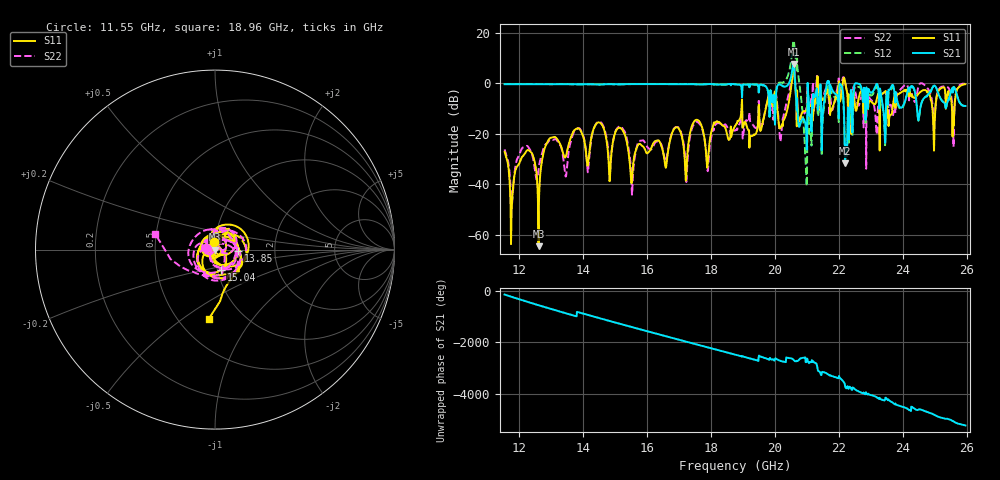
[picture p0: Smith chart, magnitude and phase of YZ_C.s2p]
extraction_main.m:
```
## This code calculates extracted reflection and transmission coefficients 
## of unknown device connected to 2 known or unknown devices. One need to 
## measure the following networks: X+Y, X+Z, Y+Z, assuming X is DUT, Y and Z
## are other devicesused for service purposes only. Both transmission and 
## reflection coefficients should be measured. Originally, this code was created
## for calculation of calibration coefficients of the coaxial waveguide adapters 
## using 2 other compatible adapters. 
## --------------
## Created by Alex Savochkin on 20th of April, 2021
## Lab 113, Department 11, Research dept. 1, VNIIFTRI

clear all; clc; c = 299792458; % скорость света в вакууме, м/с

## Enter correct filename of each S2P-files.
## Here assumed that X - DUT we need to calibrate, Y and Z - auxiliary DUTs

unknownDeviceFilename = 'XY_A.s2p'; 
knownDeviceFilename_1 = 'XZ_B.s2p'; 
knownDeviceFilename_2 = 'YZ_C.s2p';

[F_u S11_u S21_u S12_u S22_u] = VreadS2P(unknownDeviceFilename);
[F_1 S11_1 S21_1 S12_1 S22_1] = VreadS2P(knownDeviceFilename_1);
[F_2 S11_2 S21_2 S12_2 S22_2] = VreadS2P(knownDeviceFilename_2);

unitMatrix = [1 1 0; 1 0 1; 0 1 1];
minusUnitMatrix = [1 1 0; 1 0 1; 0 1 1];

measurementsMatrixS21 = [S21_u'; S21_1'; S21_2'];
measurementsMatrixS12 = [S12_u'; S12_1'; S12_2'];

measurementsMatrixS21db = [10*log10(abs(S21_u))'; 10*log10(abs(S21_1))'; 10*log10(abs(S21_2))'];
measurementsMatrixS12db = [10*log10(abs(S12_u))'; 10*log10(abs(S12_1))'; 10*log10(abs(S12_2))'];

measurementsMatrixS11 = [(S11_u)'; (S11_1)'; (S11_2)'];
measurementsMatrixS22 = [(S22_u)'; (S22_1)'; (S22_2)'];

S21_partial = unitMatrix^(-1) * measurementsMatrixS21;
S12_partial = unitMatrix^(-1) * measurementsMatrixS12;

S21_partialdb = unitMatrix^(-1) * measurementsMatrixS21db;
S12_partialdb = unitMatrix^(-1) * measurementsMatrixS12db;

S11_partial = minusUnitMatrix^(-1) * measurementsMatrixS11;
S22_partial = minusUnitMatrix^(-1) * measurementsMatrixS22;

##This is test piece of code for data filtration, it actually doesn't work
##
##clip = F_u > 13.6e9 & F_u < 19.35e9;
##
##S11_clip = S11_partial([clip, clip, clip]');
##S22_clip = S22_partial(clip');
##S21_clip = S21_partialdb(clip');
##S12_clip = S12_partialdb(clip');

##F_clip = F_u(clip)

logdate = datestr(now(), 30);
filenameTSdut = cstrcat('Calibration_data_DUT_', unknownDeviceFilename, logdate, ".txt");
filenameTSaux1 = cstrcat('Calibration_data_AuxDevice-1_', knownDeviceFilename_1, logdate, ".txt");
filenameTSaux2 = cstrcat('Calibration_data_AuxDevice-2_', knownDeviceFilename_1, logdate, ".txt");

dlmwrite(filenameTSdut, [F_u abs(S11_partial(1,:))' abs(S21_partialdb(1,:))' abs(S12_partialdb(1,:))' abs(S11_partial(1,:))'], '\t');
dlmwrite(filenameTSaux1, [F_u abs(S11_partial(2,:))' abs(S21_partialdb(2,:))' abs(S12_partialdb(2,:))' abs(S11_partial(2,:))'], '\t');
dlmwrite(filenameTSaux2, [F_u abs(S11_partial(3,:))' abs(S21_partialdb(3,:))' abs(S12_partialdb(3,:))' abs(S11_partial(3,:))'], '\t');


## This part is for visual verification purposes
## It helps to figure out if calculations are correct

## ---NOTE---
## Select section of code and press F9 in Octave to plot figure without
## recalculation of the data. This feature can be used for determining 
## the useful frequency range of the data.

##Plot TRANSMISSION coefficient in dB
figure('name', 'Transmission coefficient')
plot(F_u./1e6, S21_partialdb(1,:), "LineWidth", 3)
title('Transmission coefficients over frequency');
grid on; hold on;
plot(F_u./1e6, S21_partialdb(2,:), "LineWidth", 3)
hold on;
plot(F_u./1e6, S21_partialdb(3,:), "LineWidth", 3)
hold on;
plot(F_u./1e6, 10*log10(abs(S21_u)), "LineWidth", 2, "Color", "red", "--")
hold on;
plot(F_u./1e6, 10*log10(abs(S21_1)), "LineWidth", 2, "Color", "green", "-.")
hold on;
plot(F_u./1e6, 10*log10(abs(S21_2)), "LineWidth", 2, "Color", "blue", ":")
legend('DUT', 'Adapter-1', 'Adapter-2', 'DUT + Adapter-1', 'DUT + Adapter-2', 'Adapter-1 + Adapter-2');
xlabel('Frequenxy, MHz');
ylabel('S21, dB');

##Plot REFLECTION coefficient in LinMag
figure('name', 'Reflection coefficient')
plot(F_u./1e6, 10*log10(abs(S11_partial(1,:))), "LineWidth", 3)
title('Reflection coefficients over frequency');
grid on; hold on;
plot(F_u./1e6, 10*log10(abs(S11_partial(2,:))), "LineWidth", 3)
hold on;
plot(F_u./1e6, 10*log10(abs(S11_partial(3,:))), "LineWidth", 3)
hold on;
plot(F_u./1e6, 10*log10(abs(S11_u)), "LineWidth", 1, "Color", "red")
hold on;
plot(F_u./1e6, 10*log10(abs(S11_1)), "LineWidth", 1, "Color", "green")
hold on;
plot(F_u./1e6, 10*log10(abs(S11_2)), "LineWidth", 1, "Color", "blue")
legend('DUT', 'Adapter-1', 'Adapter-2', 'DUT + Adapter-1', 'DUT + Adapter-2', 'Adapter-1 + Adapter-2');
xlabel('Frequenxy, MHz');
ylabel('S11, dB');


##Plot REAL PART of the REFLECTION coefficient 
figure('name', 'Reflection coefficient')
plot(F_u./1e6, real(S11_partial(1,:)), "LineWidth", 3)
title('Reflection coefficients over frequency');
grid on; hold on;
plot(F_u./1e6, real(S11_partial(2,:)), "LineWidth", 3)
hold on;
plot(F_u./1e6, real(S11_partial(3,:)), "LineWidth", 3)
hold on;
plot(F_u./1e6, real(S11_u), "LineWidth", 1, "Color", "red")
hold on;
plot(F_u./1e6, real(S11_1), "LineWidth", 1, "Color", "green")
hold on;
plot(F_u./1e6, real(S11_2), "LineWidth", 1, "Color", "blue")
legend('DUT', 'Adapter-1', 'Adapter-2', 'DUT + Adapter-1', 'DUT + Adapter-2', 'Adapter-1 + Adapter-2');
xlabel('Frequenxy, MHz');
ylabel('S11, Real part');

##Imaginary part
##Plot IMAGINARY PART of the REFLECTION coefficient
figure('name', 'Reflection coefficient')
plot(F_u./1e6, imag(S11_partial(1,:)), "LineWidth", 3)
title('Reflection coefficients over frequency');
grid on; hold on;
plot(F_u./1e6, imag(S11_partial(2,:)), "LineWidth", 3)
hold on;
plot(F_u./1e6, imag(S11_partial(3,:)), "LineWidth", 3)
hold on;
plot(F_u./1e6, imag(S11_u), "LineWidth", 1, "Color", "red")
hold on;
plot(F_u./1e6, imag(S11_1), "LineWidth", 1, "Color", "green")
hold on;
plot(F_u./1e6, imag(S11_2), "LineWidth", 1, "Color", "blue")
legend('DUT', 'Adapter-1', 'Adapter-2', 'DUT + Adapter-1', 'DUT + Adapter-2', 'Adapter-1 + Adapter-2');
xlabel('Frequenxy, MHz');
ylabel('S11, Imaginary part');
```
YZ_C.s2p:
!Keysight Technologies,N5242B,MY58421992,A.13.50.09
!Date: Tuesday, April 20, 2021 19:41:28
!Correction: S11(Full 2 Port(1,2))
!S21(Full 2 Port(1,2))
!S12(Full 2 Port(1,2))
!S22(Full 2 Port(1,2))
!S2P File: Measurements: S11, S21, S12, S22:
# Hz S  dB  R 50
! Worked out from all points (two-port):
!   1441 points, 11.55 GHz to 25.95 GHz, reference 50 ohm
!   highest |S21| = 7.78 dB at 20.58 GHz (marker M1); lowest = -31.6 dB at 22.19 GHz (marker M2)
!   |S21| within 3 dB of the highest: 20.53303 GHz to 20.60532 GHz (72.29 MHz wide, 0.351 % of centre)
!   lowest |S11| = -64.5 dB at 12.61 GHz (marker M3), VSWR 1.00, Z = 50 - j0.0335 ohm
!   |S11| at or under -10 dB: start of sweep to 18.95 GHz; 18.97 GHz to 19.49 GHz (512.1 MHz wide, 2.66 % of centre); 20.07 GHz to 20.39 GHz (319 MHz wide, 1.58 % of centre)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
!   |S22| runs from -49.0 to 7.8 dB; largest |S21 - S12| = 9.1
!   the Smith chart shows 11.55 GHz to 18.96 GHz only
!   S11 on the Smith chart (normalised r, x): 11.55 GHz: 0.99, +0.09; 13.85 GHz: 1.30, -0.02; 15.04 GHz: 1.04, -0.24; 18.96 GHz: 0.69, -0.63
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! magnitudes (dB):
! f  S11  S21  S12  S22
! 11.55 GHz  -27.1  -0.3  -0.3  -26.1
! 12.61 GHz  -64.5  -0.3  -0.3  -34.1
! 13.85 GHz  -17.8  -0.4  -0.3  -17.7
! 15.04 GHz  -18.6  -0.3  -0.3  -18.2
! 18.75 GHz  -17.0  -0.3  -0.4  -18.6
! 18.96 GHz  -8.2  -2.1  -2.1  -9.3
! 20.58 GHz  6.1  7.8  17.1  7.8
! 20.94 GHz  -11.0  -15.3  -26.8  -11.5
! 21.67 GHz  -4.6  1.0  -0.9  -3.5
! 22.19 GHz  0.7  -31.6  -33.0  0.4
! 25.95 GHz  -0.3  -8.9  -8.9  -0.2
